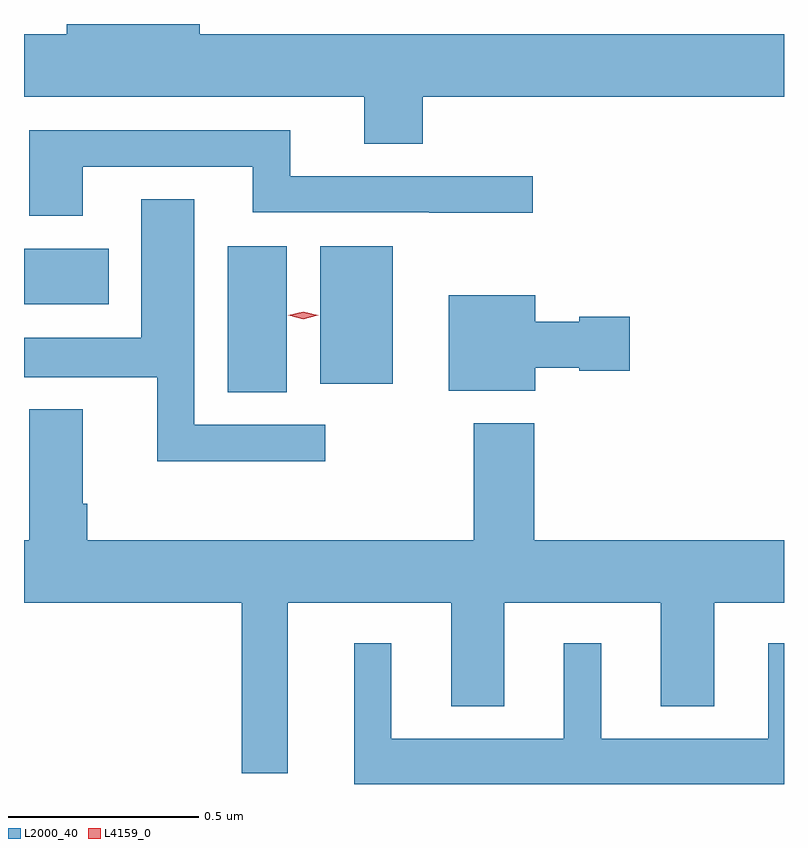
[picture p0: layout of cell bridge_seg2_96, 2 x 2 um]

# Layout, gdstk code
import gdstk
lib = gdstk.Library(unit=1e-6, precision=1e-09)
def R(c, l, rs):  # rectangles x0, y0, x1, y1
    for r in rs: c.add(gdstk.rectangle(r[:2], r[2:], *l))
def P(c, l, *ps):  # polygons
    for p in ps: c.add(gdstk.Polygon(p, *l))
L2000_40 = (2000, 40)
L4159_0 = (4159, 0)

bridge_seg2_96 = lib.new_cell('bridge_seg2_96')
R(bridge_seg2_96, L2000_40, [(274.343,621.55,274.498,621.934), (274.586,621.572,274.777,621.934), (273.807,621.782,274.03,621.928)])
P(bridge_seg2_96, L2000_40, [(274.856,622.328),(275.807,622.328),(275.807,622.492),(274.27,622.492),(274.27,622.519),(273.92,622.519),(273.92,622.492),(273.807,622.492),(273.807,622.328),(274.703,622.328),(274.703,622.204),(274.856,622.204)],
  [(273.961,622.143),(274.409,622.143),(274.409,622.023),(274.873,622.023),(274.873,622.022),(275.146,622.022),(275.146,622.119),(274.508,622.119),(274.508,622.239),(273.821,622.239),(273.821,622.014),(273.961,622.014)],
  [(274.6,621.465),(274.255,621.465),(274.255,622.058),(274.115,622.058),(274.115,621.694),(273.807,621.694),(273.807,621.59),(274.157,621.59),(274.157,621.368),(274.6,621.368)],
  [(275.152,621.614),(275.268,621.614),(275.268,621.607),(275.401,621.607),(275.401,621.749),(275.268,621.749),(275.268,621.736),(275.152,621.736),(275.152,621.805),(274.925,621.805),(274.925,621.554),(275.152,621.554)],
  [(275.15,621.469),(274.99,621.469),(274.99,621.16),(273.974,621.16),(273.974,621.256),(273.961,621.256),(273.961,621.505),(273.821,621.505),(273.821,621.16),(273.807,621.16),(273.807,620.996),(274.38,620.996),(274.38,620.547),(274.501,620.547),(274.501,620.996),(274.931,620.996),(274.931,620.723),(275.071,620.723),(275.071,620.996),(275.483,620.996),(275.483,620.723),(275.623,620.723),(275.623,620.996),(275.807,620.996),(275.807,621.16),(275.15,621.16)],
  [(275.807,620.89),(275.765,620.89),(275.765,620.638),(275.326,620.638),(275.326,620.89),(275.228,620.89),(275.228,620.638),(274.774,620.638),(274.774,620.89),(274.676,620.89),(274.676,620.519),(275.807,620.519)])
P(bridge_seg2_96, L4159_0, [(274.542,621.742),(274.502,621.752),(274.502,621.752),(274.502,621.752),(274.542,621.762),(274.581,621.752),(274.581,621.752),(274.581,621.752)])

lib.write_gds('bridge_seg2_96.gds')
